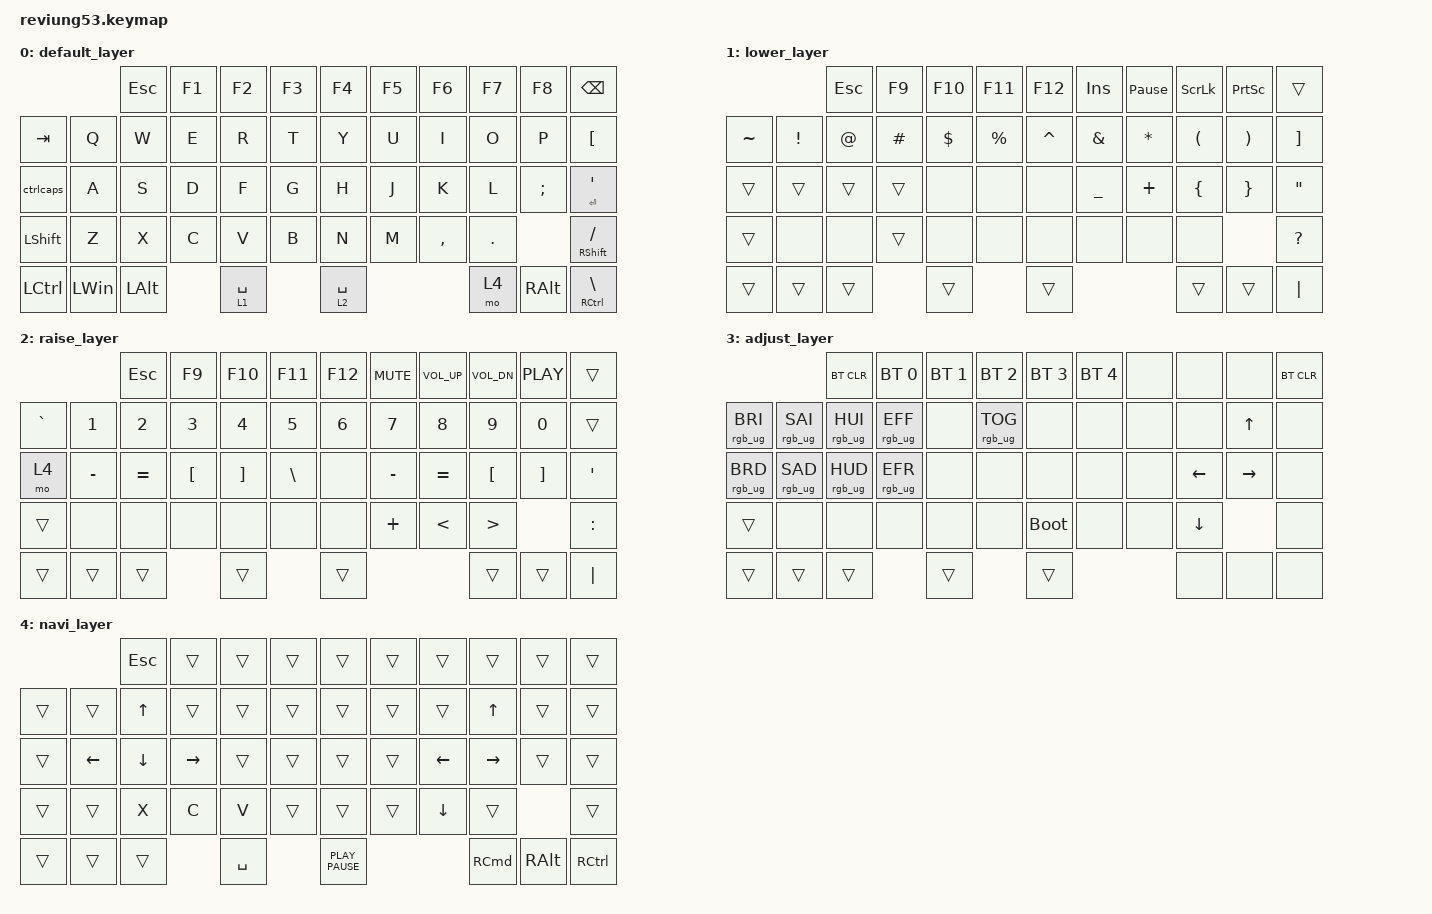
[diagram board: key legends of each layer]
/*
 * Copyright (c) 2020 The ZMK Contributors
 *
 * SPDX-License-Identifier: MIT
 */

#include <behaviors.dtsi>
#include <dt-bindings/zmk/bt.h>
#include <dt-bindings/zmk/keys.h>
#include <dt-bindings/zmk/rgb.h>

&lt { tapping-term-ms = <175>; };

/ {
    behaviors {
        entdqt: enter_dquote {
            compatible = "zmk,behavior-mod-morph";
            label = "ENTER_DQUOTE";
            #binding-cells = <0>;
            bindings = <&kp ENTER>, <&kp DQT>;

            mods = <(MOD_LSFT)>;
        };

        ctrlcaps: ctrl_caps {
            compatible = "zmk,behavior-tap-dance";
            label = "CTRL_CAPS";
            #binding-cells = <0>;
            tapping-term-ms = <200>;
            bindings = <&kp LCTRL>, <&kp CAPS>;
        };
    };

    conditional_layers {
        compatible = "zmk,conditional-layers";

        tri_layer {
            if-layers = <1 2>;
            then-layer = <3>;
        };
    };

    combos {
        compatible = "zmk,combos";

        del {
            bindings = <&kp DEL>;
            key-positions = <10 11>;
        };

        HHH {
            bindings = <&kp LEFT_BRACKET>;
            key-positions = <21 20>;
        };
    };

    keymap {
        compatible = "zmk,keymap";

        default_layer {
            // ----------------------------------------------------------------------------------------
            // |      |     | ESC |  F1  |  F2  |  F3  |  F4  |  F5  |  F6  |  F7  |  F8  |   DEL     |
            // |  TAB |  Q  |  W  |  E   |  R   |  T   |   Y  |  U   |  I   |  O   |  P   |   BKSP    |
            // | CAPS |  A  |  S  |  D   |  F   |  G   |   H  |  J   |  K   |  L   |  ;   |   RET     |
            // | SHFT |  Z  |  X  |  C   |  V   |  B   |   N  |  M   |  ,   |  .   |      | SHFT(/)   |
            // | CTRL | GUI | ALT |      LOWER(SPACE)  |    RAISE(SPACE)    | ALT  | GUI  | CTRL(\)   |
            // |

            bindings = <
                                &kp ESC       &kp F1  &kp F2       &kp F3  &kp F4       &kp F5  &kp F6     &kp F7   &kp F8    &kp BACKSPACE
&kp TAB           &kp Q         &kp W         &kp E   &kp R        &kp T   &kp Y        &kp U   &kp I      &kp O    &kp P     &kp LEFT_BRACKET
&ctrlcaps         &kp A         &kp S         &kp D   &kp F        &kp G   &kp H        &kp J   &kp K      &kp L    &kp SEMI  &mt ENTER SQT
&kp LSHFT         &kp Z         &kp X         &kp C   &kp V        &kp B   &kp N        &kp M   &kp COMMA  &kp DOT            &mt RSHFT FSLH
&kp LEFT_CONTROL  &kp LEFT_WIN  &kp LEFT_ALT          &lt 1 SPACE          &lt 2 SPACE                     &mo 4    &kp RALT  &mt RCTRL BSLH
            >;
        };

        lower_layer {
            // --------------------------------------------------------------------------------------------
            // |      |     | `   |  F9  |  F10  |  F11  |  F12  |  INS  |  PAU  |  SCR   |  PSCR  |      |
            // |      |  !  |  @  |  #   |  $    |  %    |   ^   |  &    |  *    |  (     |  )     |      |
            // |      |  _  |  +  |  {   |  }    |  |    |       |  _    |  +    |  {     |  }     |  "   |
            // |      |     |     |      |       |       |       |       |       |        |        |  ?   |
            // |      |     |     |                      |               |       |        |        |  |   |
            // |

            bindings = <
                     &kp ESC  &kp F9    &kp F10   &kp F11    &kp F12    &kp INS    &kp PAUSE_BREAK  &kp SLCK  &kp PSCRN  &trans
&kp TILDE  &kp EXCL  &kp AT   &kp HASH  &kp DLLR  &kp PRCNT  &kp CARET  &kp AMPS   &kp ASTRK        &kp LPAR  &kp RPAR   &kp RIGHT_BRACKET
&trans     &trans    &trans   &trans    &none     &none      &none      &kp UNDER  &kp PLUS         &kp LBRC  &kp RBRC   &kp DQT
&trans     &none     &none    &trans    &none     &none      &none      &none      &none            &none                &kp QMARK
&trans     &trans    &trans             &trans               &trans                                 &trans    &trans     &kp PIPE
            >;
        };

        raise_layer {
            // --------------------------------------------------------------------------------------
            // |      |     |  ~  |  F9  |  F10  |  F11  |  F12  | MUTE | VOL+ | VOL- | PLAY |      |
            // |      |  1  |  2  |  3   |   4   |   5   |   6   |   7  |   8  |   9  |  0   |      |
            // |      |  -  |  =  |  [   |  ]    |  \    |       |  -   |   =  |  [   |  ]   |   "  |
            // |      |     |     |      |       |       |       |  +   |   <  |  >   |      |  :   |
            // |      |     |     |                      |              |      |      |      |   \  |
            // |

            bindings = <
                      &kp ESC    &kp F9    &kp F10   &kp F11   &kp F12  &kp C_MUTE  &kp C_VOL_UP  &kp C_VOL_DN  &kp C_PLAY  &trans
&kp GRAVE  &kp N1     &kp N2     &kp N3    &kp N4    &kp N5    &kp N6   &kp N7      &kp N8        &kp N9        &kp N0      &trans
&mo 4      &kp MINUS  &kp EQUAL  &kp LBKT  &kp RBKT  &kp BSLH  &none    &kp MINUS   &kp EQUAL     &kp LBKT      &kp RBKT    &kp SQT
&trans     &none      &none      &none     &none     &none     &none    &kp PLUS    &kp LT        &kp GT                    &kp COLON
&trans     &trans     &trans               &trans              &trans                             &trans        &trans      &kp PIPE
            >;
        };

        adjust_layer {
            // ------------------------------------------------------------------------------------------------------------------------
            // |          |          |          |    BT1   |   BT2    |  BT3      |   BT4  |  BT5   |        |       |      | BT CLR  |
            // | RGB BRI+ | RGB SAT+ | RGB HUE+ | RGB ANI+ |          |  RGB TOG  |        |        |        |       |      |         |
            // | RGB BRI- | RGB SAT- | RGB HUE- | RGB ANI- |          |           |        |        |        |       |      |         |
            // |          |          |          |          |          |           |        |        |        |       |      |         |
            // |          |          |          |                                 |                 |        |       |      |  RESET  |
            //

            bindings = <
                                  &bt BT_CLR       &bt BT_SEL 0     &bt BT_SEL 1  &bt BT_SEL 2     &bt BT_SEL 3  &bt BT_SEL 4  &none  &none           &none      &bt BT_CLR
&rgb_ug RGB_BRI  &rgb_ug RGB_SAI  &rgb_ug RGB_HUI  &rgb_ug RGB_EFF  &none         &rgb_ug RGB_TOG  &none         &none         &none  &none           &kp UP     &none
&rgb_ug RGB_BRD  &rgb_ug RGB_SAD  &rgb_ug RGB_HUD  &rgb_ug RGB_EFR  &none         &none            &none         &none         &none  &kp LEFT_ARROW  &kp RIGHT  &none
&trans           &none            &none            &none            &none         &none            &bootloader   &none         &none  &kp DOWN                   &none
&trans           &trans           &trans                            &trans                         &trans                             &none           &none      &none
            >;
        };

        navi_layer {
            // ------------------------------------------------------------------------------------------------------------------------
            // |          |          |    ESC   |          |          |           |        |        |        |       |      |   DEL   |
            // | TAB      |          |    UP    |          |          |           |        |        |        |       |      |  BSPC   |
            // | MO(navi) |   LEFT   |   DOWN   |   RIGHT  |          |           |  LEFT  |  DOWN  |  UP    | RIGHT |      |  ENTER  |
            // | SHIFT    |          |          |          |          |           |  HOME  |  END   |  PGUP  |  PGDN |      |  SHIFT  |
            // | CTRL     |   GUI    |  ALT     |            SPACE                |  SPACE          |        |  ALT  | GUI  |  CTRL   |
            //

            bindings = <
                  &kp ESC   &trans     &trans     &trans  &trans            &trans  &trans    &trans     &trans    &trans
&trans  &trans    &kp UP    &trans     &trans     &trans  &trans            &trans  &trans    &kp UP     &trans    &trans
&trans  &kp LEFT  &kp DOWN  &kp RIGHT  &trans     &trans  &trans            &trans  &kp LEFT  &kp RIGHT  &trans    &trans
&trans  &trans    &kp X     &kp C      &kp V      &trans  &trans            &trans  &kp DOWN  &trans               &trans
&trans  &trans    &trans               &kp SPACE          &kp K_PLAY_PAUSE                    &kp RCMD   &kp RALT  &kp RCTRL
            >;
        };
    };
};
